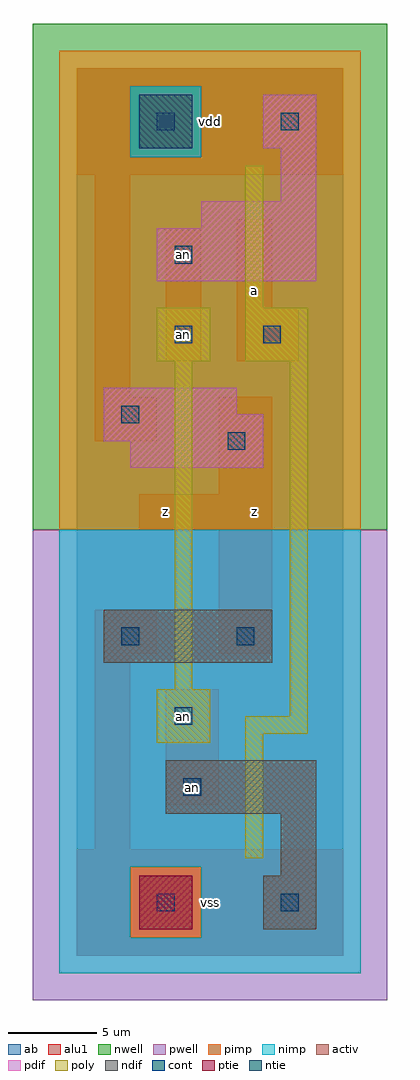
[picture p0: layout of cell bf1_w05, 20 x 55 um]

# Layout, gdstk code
import gdstk
lib = gdstk.Library(unit=1e-6, precision=1e-09)
def R(c, l, rs):  # rectangles x0, y0, x1, y1
    for r in rs: c.add(gdstk.rectangle(r[:2], r[2:], *l))
ndif = (3, 0)
pdif = (4, 0)
ntie = (5, 0)
ptie = (6, 0)
cont = (25, 0)
pwell = (41, 0)
nwell = (42, 0)
activ = (43, 0)
pimp = (44, 0)
nimp = (45, 0)
poly = (46, 0)
alu1 = (49, 0)
ab = (63, 0)

bf1_w05 = lib.new_cell('bf1_w05')
R(bf1_w05, ndif, [(10.5,1.5,13.5,4.5), (11.5,4.5,13.5,8), (5,8,13.5,11), (1.5,16.5,11,19.5)])
R(bf1_w05, pdif, [(3,27.5,10.5,29), (1.5,29,10.5,30.5), (1.5,30.5,9,32), (4.5,38,13.5,41), (7,41,13.5,42.5), (11.5,42.5,13.5,45.5), (10.5,45.5,13.5,48.5)])
R(bf1_w05, ntie, [(3.5,45.5,6.5,48.5)])
R(bf1_w05, ptie, [(3.5,1.5,6.5,4.5)])
R(bf1_w05, cont, [(4.5,2.5,5.5,3.5), (11.5,2.5,12.5,3.5), (6,9,7,10), (5.5,13,6.5,14), (2.5,17.5,3.5,18.5), (9,17.5,10,18.5), (8.5,28.5,9.5,29.5), (2.5,30,3.5,31), (5.5,34.5,6.5,35.5), (10.5,34.5,11.5,35.5), (5.5,39,6.5,40), (4.5,46.5,5.5,47.5), (11.5,46.5,12.5,47.5)])
R(bf1_w05, pwell, [(-2.5,-2.5,17.5,24)])
R(bf1_w05, nwell, [(-2.5,24,17.5,52.5)])
R(bf1_w05, activ, [(3.5,1.5,6.5,4.5), (10.5,1.5,13.5,4.5), (11.5,4.5,13.5,8), (5,8,13.5,11), (1.5,16.5,11,19.5), (3,27.5,10.5,29), (1.5,29,10.5,30.5), (1.5,30.5,9,32), (4.5,38,13.5,41), (7,41,13.5,42.5), (11.5,42.5,13.5,45.5), (3.5,45.5,6.5,48.5), (10.5,45.5,13.5,48.5)])
R(bf1_w05, pimp, [(3,1,7,5), (-1,24,16,45), (-1,45,3,49), (7,45,16,49), (-1,49,16,51)])
R(bf1_w05, nimp, [(-1,-1,16,1), (-1,1,3,5), (7,1,16,5), (-1,5,16,24), (3,45,7,49)])
R(bf1_w05, poly, [(9.5,5.5,10.5,12.5), (4.5,12,7.5,15), (9.5,12.5,13,13.5), (12,13.5,13,33.5), (5.5,15,6.5,33.5), (4.5,33.5,7.5,36.5), (9.5,33.5,13,36.5), (9.5,36.5,10.5,44.5)])
R(bf1_w05, alu1, [(0,0,15,6), (0,0,15,6), (1,6,3,17), (1,6,3,17), (5,8.5,8,15), (5,8.5,8,15), (1,17,4.5,19.5), (1,17,4.5,19.5), (8,17,11,24), (8,17,11,24), (3.5,24,11,26), (3.5,24,11,26), (8,26,11,31.5), (8,26,11,31.5), (1,29,4.5,31.5), (1,29,4.5,31.5), (1,31.5,3,44), (1,31.5,3,44), (5,33.5,7,41), (5,33.5,7,41), (9,33.5,12.5,36.5), (9,33.5,12.5,36.5), (9,36.5,11,41.5), (9,36.5,11,41.5), (0,44,15,50), (0,44,15,50)])
R(bf1_w05, ab, [(0,0,15,50)])
bf1_w05.add(gdstk.Label('an', (6,13.5), layer=49, texttype=0))
bf1_w05.add(gdstk.Label('an', (6.5,9.5), layer=49, texttype=0))
bf1_w05.add(gdstk.Label('an', (6,39.5), layer=49, texttype=0))
bf1_w05.add(gdstk.Label('an', (6,35), layer=49, texttype=0))
bf1_w05.add(gdstk.Label('z', (5,25), layer=49, texttype=0))
bf1_w05.add(gdstk.Label('vss', (7.5,3), layer=49, texttype=0))
bf1_w05.add(gdstk.Label('z', (10,25), layer=49, texttype=0))
bf1_w05.add(gdstk.Label('a', (10,37.5), layer=49, texttype=0))
bf1_w05.add(gdstk.Label('vdd', (7.5,47), layer=49, texttype=0))

lib.write_gds('bf1_w05.gds')
